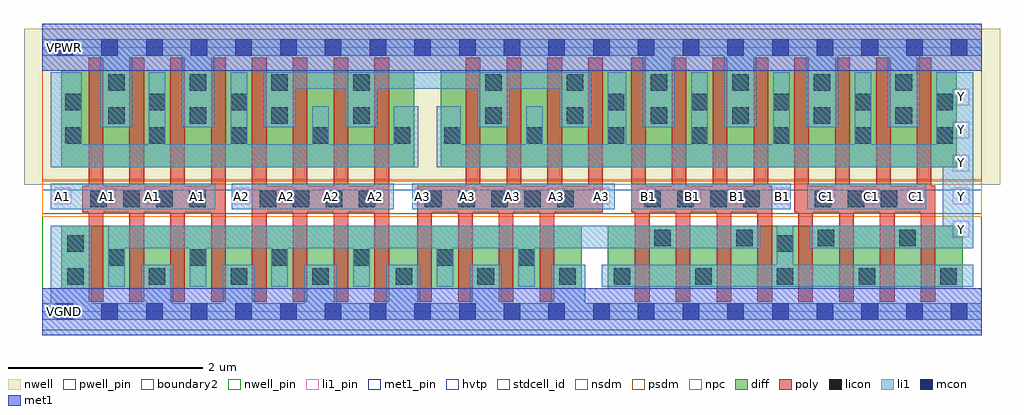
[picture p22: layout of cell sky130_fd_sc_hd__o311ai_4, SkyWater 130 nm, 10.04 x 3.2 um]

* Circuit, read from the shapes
.subckt sky130_fd_sc_hd__o311ai_4 A1 A2 A3 B1 C1 VGND VNB VPB VPWR Y
XM1 n1 A1 VGND VNB sky130_fd_pr__nfet_01v8 w=0.65 l=0.15 m=4
XM2 n1 A2 VGND VNB sky130_fd_pr__nfet_01v8 w=0.65 l=0.15 m=4
XM3 n1 A3 VGND VNB sky130_fd_pr__nfet_01v8 w=0.65 l=0.15 m=4
XM4 n1 B1 n2 VNB sky130_fd_pr__nfet_01v8 w=0.65 l=0.15 m=4
XM5 Y C1 n2 VNB sky130_fd_pr__nfet_01v8 w=0.65 l=0.15 m=4
XM6 VPWR A1 n3 VPB sky130_fd_pr__pfet_01v8_hvt w=1 l=0.15 m=4
XM7 n4 A2 n3 VPB sky130_fd_pr__pfet_01v8_hvt w=1 l=0.15 m=4
XM8 n4 A3 Y VPB sky130_fd_pr__pfet_01v8_hvt w=1 l=0.15 m=4
XM9 VPWR B1 Y VPB sky130_fd_pr__pfet_01v8_hvt w=1 l=0.15 m=4
XM10 VPWR C1 Y VPB sky130_fd_pr__pfet_01v8_hvt w=1 l=0.15 m=4
.ends

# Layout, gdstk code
import gdstk
lib = gdstk.Library(unit=1e-6, precision=1e-09)
def R(c, l, rs):  # rectangles x0, y0, x1, y1
    for r in rs: c.add(gdstk.rectangle(r[:2], r[2:], *l))
def A(c, l, x, y, w, h, nx, ny, dx, dy):  # array of equal rectangles
    R(c, l, [(x+i*dx, y+j*dy, x+i*dx+w, y+j*dy+h) for i in range(nx) for j in range(ny)])
def P(c, l, *ps):  # polygons
    for p in ps: c.add(gdstk.Polygon(p, *l))
nwell_pin = (64, 16)
nwell = (64, 20)
diff = (65, 20)
poly = (66, 20)
licon = (66, 44)
li1_pin = (67, 16)
li1 = (67, 20)
mcon = (67, 44)
met1_pin = (68, 16)
met1 = (68, 20)
hvtp = (78, 44)
stdcell_id = (81, 4)
nsdm = (93, 44)
psdm = (94, 20)
npc = (95, 20)
pwell_pin = (122, 16)
boundary2 = (236, 0)

sky130_fd_sc_hd__o311ai_ = lib.new_cell('sky130_fd_sc_hd__o311ai_4')
R(sky130_fd_sc_hd__o311ai_, nwell_pin, [(0.125,2.635,0.295,2.805)])
R(sky130_fd_sc_hd__o311ai_, nwell, [(-0.19,1.305,9.85,2.91)])
R(sky130_fd_sc_hd__o311ai_, diff, [(0.195,0.235,5.545,0.885), (5.815,0.235,9.465,0.885), (0.195,1.485,3.825,2.485), (4.095,1.485,9.405,2.485)])
P(sky130_fd_sc_hd__o311ai_, poly, [(9.185,1.295),(9.145,1.295),(9.145,2.615),(8.995,2.615),(8.995,1.295),(8.725,1.295),(8.725,2.615),(8.575,2.615),(8.575,1.295),(8.305,1.295),(8.305,2.615),(8.155,2.615),(8.155,1.295),(7.885,1.295),(7.885,2.615),(7.735,2.615),(7.735,1.025),(7.775,1.025),(7.775,0.105),(7.925,0.105),(7.925,1.025),(8.195,1.025),(8.195,0.105),(8.345,0.105),(8.345,1.025),(8.615,1.025),(8.615,0.105),(8.765,0.105),(8.765,1.025),(9.035,1.025),(9.035,0.105),(9.185,0.105)],
  [(1.885,2.615),(1.735,2.615),(1.735,1.295),(1.465,1.295),(1.465,2.615),(1.315,2.615),(1.315,1.295),(1.045,1.295),(1.045,2.615),(0.895,2.615),(0.895,1.295),(0.625,1.295),(0.625,2.615),(0.475,2.615),(0.475,1.295),(0.41,1.295),(0.41,1.025),(0.475,1.025),(0.475,0.105),(0.625,0.105),(0.625,1.025),(0.895,1.025),(0.895,0.105),(1.045,0.105),(1.045,1.025),(1.315,1.025),(1.315,0.105),(1.465,0.105),(1.465,1.025),(1.735,1.025),(1.735,0.105),(1.885,0.105)],
  [(3.565,2.615),(3.415,2.615),(3.415,1.295),(3.145,1.295),(3.145,2.615),(2.995,2.615),(2.995,1.295),(2.725,1.295),(2.725,2.615),(2.575,2.615),(2.575,1.295),(2.305,1.295),(2.305,2.615),(2.155,2.615),(2.155,0.105),(2.305,0.105),(2.305,1.025),(2.575,1.025),(2.575,0.105),(2.725,0.105),(2.725,1.025),(2.995,1.025),(2.995,0.105),(3.145,0.105),(3.145,1.025),(3.415,1.025),(3.415,0.105),(3.565,0.105)],
  [(5.765,2.615),(5.615,2.615),(5.615,1.295),(5.345,1.295),(5.345,2.615),(5.195,2.615),(5.195,1.295),(4.925,1.295),(4.925,2.615),(4.775,2.615),(4.775,1.295),(4.505,1.295),(4.505,2.615),(4.355,2.615),(4.355,1.295),(3.855,1.295),(3.855,0.105),(4.005,0.105),(4.005,1.025),(4.275,1.025),(4.275,0.105),(4.425,0.105),(4.425,1.025),(4.695,1.025),(4.695,0.105),(4.845,0.105),(4.845,1.025),(5.115,1.025),(5.115,0.105),(5.265,0.105),(5.265,1.025),(5.765,1.025)],
  [(7.505,1.295),(7.465,1.295),(7.465,2.615),(7.315,2.615),(7.315,1.295),(7.045,1.295),(7.045,2.615),(6.895,2.615),(6.895,1.295),(6.625,1.295),(6.625,2.615),(6.475,2.615),(6.475,1.295),(6.205,1.295),(6.205,2.615),(6.055,2.615),(6.055,1.025),(6.095,1.025),(6.095,0.105),(6.245,0.105),(6.245,1.025),(6.515,1.025),(6.515,0.105),(6.665,0.105),(6.665,1.025),(6.935,1.025),(6.935,0.105),(7.085,0.105),(7.085,1.025),(7.355,1.025),(7.355,0.105),(7.505,0.105)])
A(sky130_fd_sc_hd__o311ai_, licon, 0.255, 0.275, 0.17, 0.17, 4, 1, 0.84, 0)
A(sky130_fd_sc_hd__o311ai_, licon, 3.635, 0.275, 0.17, 0.17, 3, 1, 0.84, 0)
A(sky130_fd_sc_hd__o311ai_, licon, 5.875, 0.275, 0.17, 0.17, 5, 1, 0.84, 0)
A(sky130_fd_sc_hd__o311ai_, licon, 0.675, 0.475, 0.17, 0.17, 4, 2, 0.84, 1.46)
A(sky130_fd_sc_hd__o311ai_, licon, 6.295, 0.675, 0.17, 0.17, 4, 1, 0.84, 0)
A(sky130_fd_sc_hd__o311ai_, licon, 0.49, 1.075, 0.17, 0.17, 4, 1, 0.34, 0)
A(sky130_fd_sc_hd__o311ai_, licon, 2.235, 1.075, 0.17, 0.17, 4, 1, 0.34, 0)
A(sky130_fd_sc_hd__o311ai_, licon, 3.935, 1.075, 0.17, 0.17, 5, 1, 0.34, 0)
A(sky130_fd_sc_hd__o311ai_, licon, 6.19, 1.075, 0.17, 0.17, 4, 1, 0.34, 0)
A(sky130_fd_sc_hd__o311ai_, licon, 7.945, 1.075, 0.17, 0.17, 3, 1, 0.34, 0)
A(sky130_fd_sc_hd__o311ai_, licon, 1.095, 1.73, 0.17, 0.17, 4, 1, 0.84, 0)
A(sky130_fd_sc_hd__o311ai_, licon, 4.135, 1.73, 0.17, 0.17, 3, 1, 0.84, 0)
A(sky130_fd_sc_hd__o311ai_, licon, 6.675, 1.73, 0.17, 0.17, 4, 2, 0.84, 0.34)
A(sky130_fd_sc_hd__o311ai_, licon, 6.255, 1.935, 0.17, 0.17, 4, 2, 0.84, 0.34)
A(sky130_fd_sc_hd__o311ai_, licon, 0.675, 2.275, 0.17, 0.17, 4, 1, 0.84, 0)
R(sky130_fd_sc_hd__o311ai_, licon, [(4.055,0.475,4.225,0.645), (4.895,0.475,5.065,0.645), (0.255,0.615,0.425,0.785), (7.555,0.615,7.725,0.785), (0.235,1.73,0.405,1.9), (4.555,1.935,4.725,2.105), (5.395,1.935,5.565,2.105), (0.235,2.07,0.405,2.24), (1.095,2.07,1.265,2.24), (1.935,2.07,2.105,2.24), (5.815,2.07,5.985,2.24), (4.555,2.275,4.725,2.445), (5.395,2.275,5.565,2.445)])
A(sky130_fd_sc_hd__o311ai_, li1_pin, 0.125, 1.105, 0.17, 0.17, 8, 1, 0.46, 0)
A(sky130_fd_sc_hd__o311ai_, li1_pin, 3.825, 1.105, 0.17, 0.17, 5, 1, 0.46, 0)
A(sky130_fd_sc_hd__o311ai_, li1_pin, 6.145, 1.105, 0.17, 0.17, 8, 1, 0.46, 0)
A(sky130_fd_sc_hd__o311ai_, li1_pin, 9.365, 1.445, 0.17, 0.17, 1, 3, 0, 0.34)
R(sky130_fd_sc_hd__o311ai_, li1_pin, [(9.365,0.765,9.535,0.935)])
R(sky130_fd_sc_hd__o311ai_, li1, [(0.085,1.055,1.775,1.315), (1.945,1.055,3.615,1.315), (3.805,1.055,5.885,1.315), (6.055,1.055,7.695,1.315), (7.865,1.055,9.09,1.315)])
P(sky130_fd_sc_hd__o311ai_, li1, [(9.66,0.085),(5.585,0.085),(5.585,0.485),(5.235,0.485),(5.235,0.085),(4.725,0.085),(4.725,0.485),(4.395,0.485),(4.395,0.085),(3.885,0.085),(3.885,0.485),(3.535,0.485),(3.535,0.085),(3.025,0.085),(3.025,0.485),(2.695,0.485),(2.695,0.085),(2.185,0.085),(2.185,0.485),(1.855,0.485),(1.855,0.085),(1.345,0.085),(1.345,0.485),(1.015,0.485),(1.015,0.085),(0.505,0.085),(0.505,0.885),(0.085,0.885),(0.085,0.085),(0,0.085),(0,-0.085),(9.66,-0.085)],
  [(9.575,2.465),(9.195,2.465),(9.195,1.725),(8.525,1.725),(8.525,2.465),(8.355,2.465),(8.355,1.725),(7.685,1.725),(7.685,2.465),(7.515,2.465),(7.515,1.725),(6.845,1.725),(6.845,2.465),(6.675,2.465),(6.675,1.725),(6.005,1.725),(6.005,2.465),(5.815,2.465),(5.815,1.725),(5.145,1.725),(5.145,2.115),(4.975,2.115),(4.975,1.725),(4.305,1.725),(4.305,2.115),(4.055,2.115),(4.055,1.485),(9.26,1.485),(9.26,0.885),(7.895,0.885),(7.895,0.655),(9.575,0.655)],
  [(9.575,0.485),(7.725,0.485),(7.725,0.885),(7.555,0.885),(7.555,0.485),(5.755,0.485),(5.755,0.255),(9.575,0.255)],
  [(3.865,2.115),(3.615,2.115),(3.615,1.725),(2.945,1.725),(2.945,2.115),(2.775,2.115),(2.775,1.725),(2.105,1.725),(2.105,2.465),(1.935,2.465),(1.935,1.725),(1.265,1.725),(1.265,2.465),(1.095,2.465),(1.095,1.725),(0.405,1.725),(0.405,2.465),(0.085,2.465),(0.085,1.485),(3.865,1.485)],
  [(7.385,0.885),(0.675,0.885),(0.675,0.255),(0.845,0.255),(0.845,0.655),(1.515,0.655),(1.515,0.255),(1.685,0.255),(1.685,0.655),(2.355,0.655),(2.355,0.255),(2.525,0.255),(2.525,0.655),(3.195,0.655),(3.195,0.255),(3.365,0.255),(3.365,0.655),(4.055,0.655),(4.055,0.255),(4.225,0.255),(4.225,0.655),(4.895,0.655),(4.895,0.255),(5.065,0.255),(5.065,0.655),(7.385,0.655)],
  [(9.66,2.805),(0,2.805),(0,2.635),(0.595,2.635),(0.595,1.895),(0.925,1.895),(0.925,2.635),(1.435,2.635),(1.435,1.895),(1.765,1.895),(1.765,2.635),(6.175,2.635),(6.175,1.895),(6.505,1.895),(6.505,2.635),(7.015,2.635),(7.015,1.895),(7.345,1.895),(7.345,2.635),(7.855,2.635),(7.855,1.895),(8.185,1.895),(8.185,2.635),(8.695,2.635),(8.695,1.895),(9.025,1.895),(9.025,2.635),(9.66,2.635)],
  [(5.645,2.465),(2.275,2.465),(2.275,1.895),(2.605,1.895),(2.605,2.295),(3.115,2.295),(3.115,1.895),(3.445,1.895),(3.445,2.295),(4.475,2.295),(4.475,1.895),(4.805,1.895),(4.805,2.295),(5.315,2.295),(5.315,1.895),(5.645,1.895)])
A(sky130_fd_sc_hd__o311ai_, mcon, 0.145, -0.085, 0.17, 0.17, 21, 2, 0.46, 2.72)
R(sky130_fd_sc_hd__o311ai_, met1_pin, [(0.125,-0.085,0.295,0.085), (0.125,2.635,0.295,2.805)])
R(sky130_fd_sc_hd__o311ai_, hvtp, [(0,1.25,9.66,2.72)])
R(sky130_fd_sc_hd__o311ai_, stdcell_id, [(0,0,9.66,2.72)])
R(sky130_fd_sc_hd__o311ai_, nsdm, [(0,-0.19,9.66,1.015)])
R(sky130_fd_sc_hd__o311ai_, psdm, [(0,1.355,9.66,2.91)])
R(sky130_fd_sc_hd__o311ai_, npc, [(0,0.975,9.66,1.345)])
R(sky130_fd_sc_hd__o311ai_, pwell_pin, [(0.125,-0.085,0.295,0.085)])
R(sky130_fd_sc_hd__o311ai_, boundary2, [(0,0,9.66,2.72)])
sky130_fd_sc_hd__o311ai_.add(gdstk.FlexPath([(0,2.72),(9.66,2.72)], 0.48, ends="flush", simple_path=True, layer=68, datatype=20))  # met1
sky130_fd_sc_hd__o311ai_.add(gdstk.FlexPath([(0,0),(9.66,0)], 0.48, ends="flush", simple_path=True, layer=68, datatype=20))  # met1
sky130_fd_sc_hd__o311ai_.add(gdstk.Label('Y', (9.45,2.21), layer=67, texttype=5))
sky130_fd_sc_hd__o311ai_.add(gdstk.Label('Y', (9.45,1.87), layer=67, texttype=5))
sky130_fd_sc_hd__o311ai_.add(gdstk.Label('Y', (9.45,1.53), layer=67, texttype=5))
sky130_fd_sc_hd__o311ai_.add(gdstk.Label('Y', (9.45,0.85), layer=67, texttype=5))
sky130_fd_sc_hd__o311ai_.add(gdstk.Label('Y', (9.45,1.19), layer=67, texttype=5))
sky130_fd_sc_hd__o311ai_.add(gdstk.Label('C1', (8.99,1.19), layer=67, texttype=5))
sky130_fd_sc_hd__o311ai_.add(gdstk.Label('C1', (8.53,1.19), layer=67, texttype=5))
sky130_fd_sc_hd__o311ai_.add(gdstk.Label('C1', (8.07,1.19), layer=67, texttype=5))
sky130_fd_sc_hd__o311ai_.add(gdstk.Label('B1', (7.61,1.19), layer=67, texttype=5))
sky130_fd_sc_hd__o311ai_.add(gdstk.Label('B1', (7.15,1.19), layer=67, texttype=5))
sky130_fd_sc_hd__o311ai_.add(gdstk.Label('B1', (6.69,1.19), layer=67, texttype=5))
sky130_fd_sc_hd__o311ai_.add(gdstk.Label('B1', (6.23,1.19), layer=67, texttype=5))
sky130_fd_sc_hd__o311ai_.add(gdstk.Label('A3', (5.75,1.19), layer=67, texttype=5))
sky130_fd_sc_hd__o311ai_.add(gdstk.Label('A3', (5.29,1.19), layer=67, texttype=5))
sky130_fd_sc_hd__o311ai_.add(gdstk.Label('A3', (4.83,1.19), layer=67, texttype=5))
sky130_fd_sc_hd__o311ai_.add(gdstk.Label('A3', (4.37,1.19), layer=67, texttype=5))
sky130_fd_sc_hd__o311ai_.add(gdstk.Label('A3', (3.91,1.19), layer=67, texttype=5))
sky130_fd_sc_hd__o311ai_.add(gdstk.Label('A2', (3.43,1.19), layer=67, texttype=5))
sky130_fd_sc_hd__o311ai_.add(gdstk.Label('A2', (2.97,1.19), layer=67, texttype=5))
sky130_fd_sc_hd__o311ai_.add(gdstk.Label('A2', (2.51,1.19), layer=67, texttype=5))
sky130_fd_sc_hd__o311ai_.add(gdstk.Label('A2', (2.05,1.19), layer=67, texttype=5))
sky130_fd_sc_hd__o311ai_.add(gdstk.Label('A1', (1.59,1.19), layer=67, texttype=5))
sky130_fd_sc_hd__o311ai_.add(gdstk.Label('A1', (1.13,1.19), layer=67, texttype=5))
sky130_fd_sc_hd__o311ai_.add(gdstk.Label('A1', (0.67,1.19), layer=67, texttype=5))
sky130_fd_sc_hd__o311ai_.add(gdstk.Label('A1', (0.21,1.19), layer=67, texttype=5))
sky130_fd_sc_hd__o311ai_.add(gdstk.Label('VGND', (0.23,0), layer=68, texttype=5))
sky130_fd_sc_hd__o311ai_.add(gdstk.Label('VPWR', (0.23,2.72), layer=68, texttype=5))
sky130_fd_sc_hd__o311ai_.add(gdstk.Label('VPB', (0.23,2.72), layer=64, texttype=5))
sky130_fd_sc_hd__o311ai_.add(gdstk.Label('VNB', (0.23,0), layer=64, texttype=59))
sky130_fd_sc_hd__o311ai_.add(gdstk.Label('o311ai_4', (0,0), layer=83, texttype=44))

lib.write_gds('sky130_fd_sc_hd__o311ai_4.gds')
